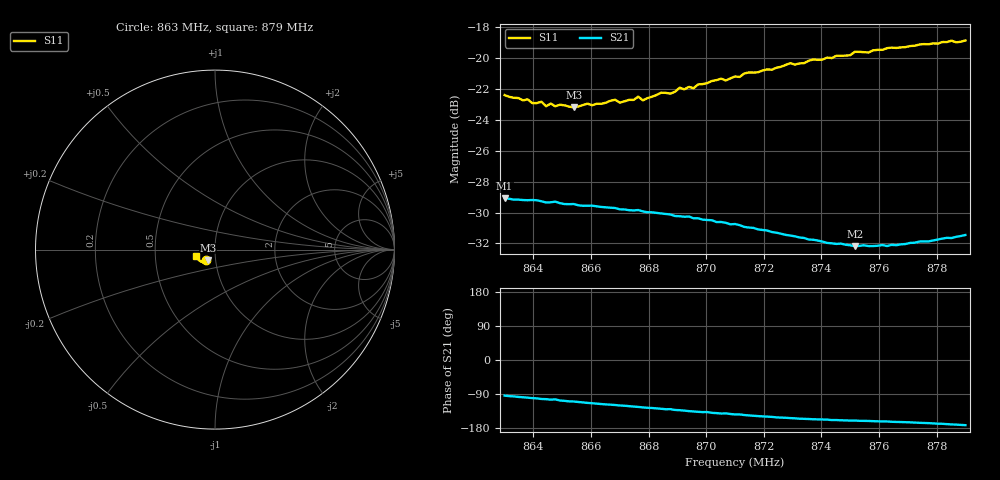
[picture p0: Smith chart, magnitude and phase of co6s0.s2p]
# HZ S RI R 50
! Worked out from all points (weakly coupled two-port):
!   101 points, 863 MHz to 879 MHz, reference 50 ohm
!   highest |S21| = -29.07 dB at 863 MHz (marker M1); lowest = -32.2 dB at 875.16 MHz (marker M2)
!   lowest |S11| = -23.2 dB at 865.4 MHz (marker M3), VSWR 1.15, Z = 46 - j5.29 ohm
!   |S11| at or under -10 dB: start of sweep to end of sweep
!   S12 and S22 are empty: the file has one direction only
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8.63e8  -0.0481 -0.0585  -0.00246 -0.0351  0 0  0 0
8.6396e8  -0.0439 -0.0562  -0.00634 -0.0341  0 0  0 0
8.6428e8  -0.0428 -0.058  -0.00766 -0.0335  0 0  0 0
8.6444e8  -0.0423 -0.0554  -0.00786 -0.0332  0 0  0 0
8.646e8  -0.0423 -0.0571  -0.00862 -0.033  0 0  0 0
8.654e8  -0.0387 -0.0572  -0.0112 -0.0317  0 0  0 0
8.6572e8  -0.0401 -0.0578  -0.0124 -0.0308  0 0  0 0
8.6684e8  -0.0396 -0.0615  -0.0158 -0.0286  0 0  0 0
8.67e8  -0.0388 -0.0602  -0.0162 -0.028  0 0  0 0
8.6764e8  -0.0403 -0.0631  -0.0179 -0.0268  0 0  0 0
8.678e8  -0.0391 -0.0615  -0.0184 -0.0261  0 0  0 0
8.6844e8  -0.0433 -0.0638  -0.0197 -0.0245  0 0  0 0
8.6876e8  -0.039 -0.0659  -0.0199 -0.024  0 0  0 0
8.6908e8  -0.0446 -0.0664  -0.0208 -0.0227  0 0  0 0
8.6956e8  -0.0437 -0.0666  -0.0217 -0.0211  0 0  0 0
8.6972e8  -0.0462 -0.0678  -0.0221 -0.0208  0 0  0 0
8.71e8  -0.0519 -0.0698  -0.0234 -0.0172  0 0  0 0
8.7372e8  -0.0693 -0.0702  -0.0237 -0.0103  0 0  0 0
8.75e8  -0.0785 -0.065  -0.0233 -0.00852  0 0  0 0
8.7516e8  -0.0817 -0.0651  -0.0231 -0.0085  0 0  0 0
8.7644e8  -0.0907 -0.0583  -0.0238 -0.00725  0 0  0 0
8.79e8  -0.1075 -0.0369  -0.0265 -0.00371  0 0  0 0
